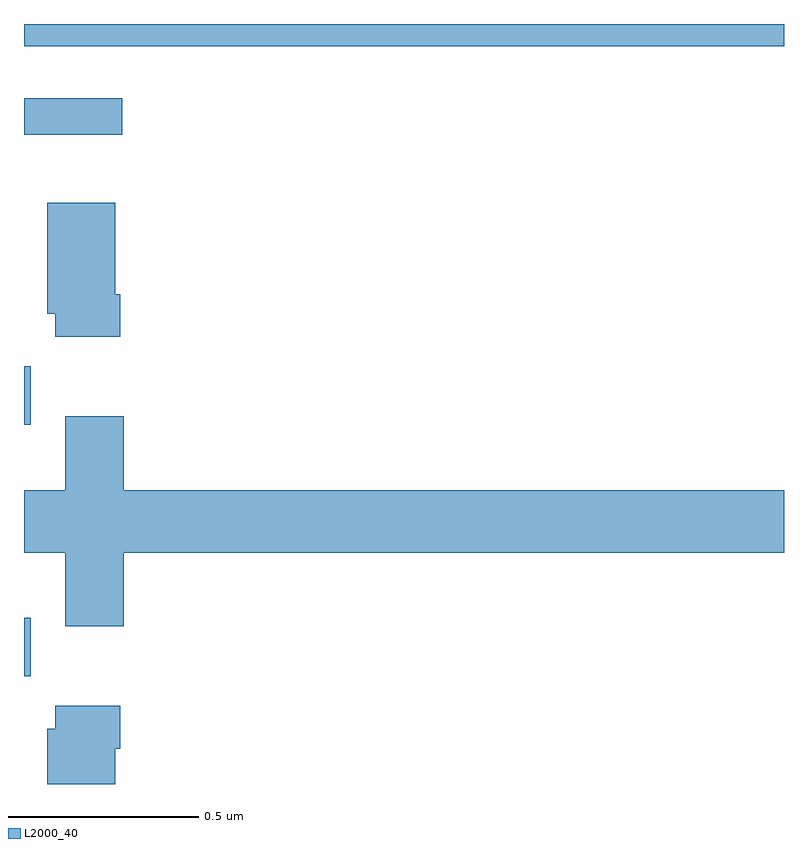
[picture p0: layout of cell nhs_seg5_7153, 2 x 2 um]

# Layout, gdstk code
import gdstk
lib = gdstk.Library(unit=1e-6, precision=1e-09)
def R(c, l, rs):  # rectangles x0, y0, x1, y1
    for r in rs: c.add(gdstk.rectangle(r[:2], r[2:], *l))
def P(c, l, *ps):  # polygons
    for p in ps: c.add(gdstk.Polygon(p, *l))
L2000_40 = (2000, 40)

nhs_seg5_7153 = lib.new_cell('nhs_seg5_7153')
R(nhs_seg5_7153, L2000_40, [(205,875.082,205.018,875.236), (205,875.744,205.018,875.898), (205,876.507,205.258,876.604), (205,876.74,207,876.799)])
P(nhs_seg5_7153, L2000_40, [(205.253,876.088),(205.24,876.088),(205.24,876.328),(205.061,876.328),(205.061,876.036),(205.082,876.036),(205.082,875.976),(205.253,875.976)],
  [(205.262,875.408),(207,875.408),(207,875.572),(205.262,875.572),(205.262,875.767),(205.109,875.767),(205.109,875.572),(205,875.572),(205,875.408),(205.109,875.408),(205.109,875.214),(205.262,875.214)],
  [(205.24,874.892),(205.253,874.892),(205.253,875.005),(205.082,875.005),(205.082,874.944),(205.061,874.944),(205.061,874.799),(205.24,874.799)])

lib.write_gds('nhs_seg5_7153.gds')
